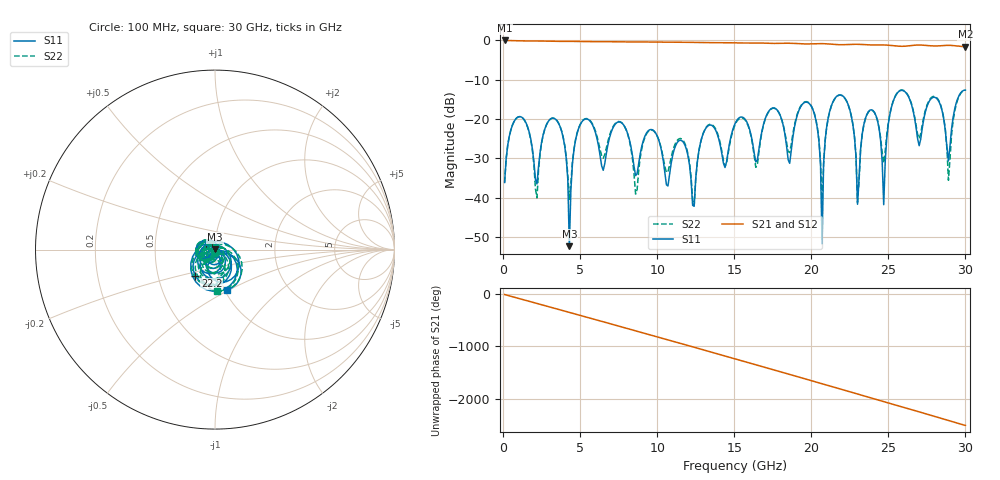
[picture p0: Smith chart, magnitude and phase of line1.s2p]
! Created Sat Feb 15 09:35:58 2025
! List of port names and net name(s): example Port n = <port_name> <net_name1> <net_name2> ...
! Port 1 = P1 P1
! Port 2 = P2 P1
# hz S ma R 50
! 2 Port Network Data from data block
! freq  magS11  angS11  magS21  angS21  magS12  angS12  magS22  angS22
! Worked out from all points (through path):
!   300 points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, 100 MHz to 30 GHz, reference 50 ohm
!   highest |S21| = -0.01 dB at 100 MHz (marker M1); lowest = -1.6 dB at 30 GHz (marker M2)
!   group delay of S21, straight-line fit = 232 ps
!   lowest |S11| = -52.3 dB at 4.3 GHz (marker M3), VSWR 1.00, Z = 50 + j0.243 ohm
!   |S11| at or under -10 dB: start of sweep to end of sweep
!   |S22| runs from -42.0 to -12.6 dB; largest |S21 - S12| = 0
!   S11 on the Smith chart (normalised r, x): 100 MHz: 1.00, -0.03; 22.2 GHz: 0.77, -0.23; 30 GHz: 1.03, -0.49
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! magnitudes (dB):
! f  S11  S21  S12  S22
! 100 MHz  -36.1  0.0  0.0  -36.1
! 2.2 GHz  -36.5  -0.1  -0.1  -40.1
! 3.4 GHz  -20.0  -0.2  -0.2  -20.0
! 4.1 GHz  -30.0  -0.2  -0.2  -29.6
! 4.3 GHz  -52.3  -0.2  -0.2  -40.4
! 5.1 GHz  -20.8  -0.3  -0.3  -20.7
! 8.6 GHz  -34.4  -0.4  -0.4  -39.1
! 10.1 GHz  -25.3  -0.4  -0.4  -25.2
! 12.4 GHz  -42.1  -0.5  -0.5  -42.0
! 15.1 GHz  -20.8  -0.6  -0.6  -21.1
! 20.1 GHz  -17.6  -0.9  -0.9  -17.4
! 20.5 GHz  -25.7  -0.8  -0.8  -25.4
! 20.7 GHz  -51.7  -0.8  -0.8  -41.5
! 21 GHz  -22.0  -0.9  -0.9  -22.1
! 22.2 GHz  -14.8  -1.1  -1.1  -14.8
! 23 GHz  -41.6  -1.0  -1.0  -41.2
! 23.9 GHz  -17.6  -1.2  -1.2  -17.7
! 24.7 GHz  -41.7  -1.2  -1.2  -31.2
! 25.1 GHz  -18.8  -1.2  -1.2  -18.6
! 28.2 GHz  -15.0  -1.4  -1.4  -14.8
! 28.9 GHz  -30.6  -1.2  -1.2  -35.5
! 30 GHz  -12.6  -1.6  -1.6  -12.7
